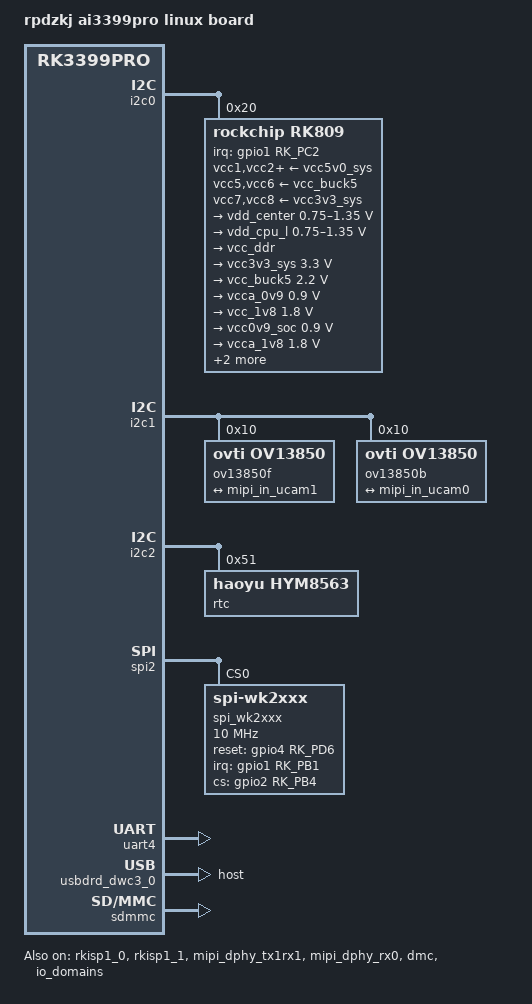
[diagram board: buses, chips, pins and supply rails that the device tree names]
// SPDX-License-Identifier: (GPL-2.0+ OR MIT)
/*
 * Copyright (c) 2019 Fuzhou Rockchip Electronics Co., Ltd
 *
 */

/dts-v1/;
#include "rk3399pro-evb-v11-linux.dts"

//#include "rp-lcd-hdmi.dtsi"
//#include "rp-lcd-ai-mipi-5-720-1280.dtsi"
//#include "rp-lcd-ai-mipi-5-720-1280-v2-boxTP.dtsi"
//#include "rp-lcd-ai-mipi-5.5-720-1280.dtsi"
//#include "rp-lcd-ai-mipi-5.5-720-1280-v2.dtsi"
//#include "rp-lcd-ai-mipi-5.5-1080-1920.dtsi"
#include "rp-lcd-ai-mipi-7-1024-600.dtsi"
//#include "rp-lcd-ai-mipi-7-1200-1920.dtsi"
//#include "rp-lcd-ai-mipi-8-800-1280-new.dtsi"
//#include "rp-lcd-ai-mipi-8-800-1280-v3.dtsi"
//#include "rp-lcd-ai-mipi-8-1200-1920.dtsi"
//#include "rp-lcd-ai-mipi-10-800-1280.dtsi"
//#include "rp-lcd-ai-mipi-10-800-1280-v2.dtsi"
//#include "rp-lcd-ai-mipi-10-800-1280-v3.dtsi"
//#include "rp-lcd-ai-mipi-10.1-1920-1200.dtsi"
//#include "rp-lcd-ai-edp-13.3-1920-1080.dtsi"
//#include "rp-lcd-ai-edp-13.3-15.6-1920-1080.dtsi"
//null



/ {
        model = "rpdzkj ai3399pro linux  board";
        //compatible = "ai3399pro";
	compatible = "rpdzkj,ai3399pro-linux", "rockchip,rk3399pro";

	rp_power {
		compatible = "rp_power";
		rp_not_deep_sleep = <1>;
		status = "okay";

		// GPIO_FUNCTION_OUTPUT 0
		// GPIO_FUNCTION_INPUT 1
		// GPIO_FUNCTION_IRQ 2
		// GPIO_FUNCTION_FLASH 3
		// GPIO_FUNCTION_OUTPUT_CTRL 4

        vdd_5v {
            gpio_num = <&gpio1 13 GPIO_ACTIVE_HIGH>;
            gpio_function = <0>;
        };
        usb_pwr {
            gpio_num = <&gpio4 29 GPIO_ACTIVE_HIGH>;
            gpio_function = <4>;
        };
        hub_rst {
            gpio_num = <&gpio4 25 GPIO_ACTIVE_HIGH>;
            gpio_function = <4>;
        };
        otg_pwr {
            gpio_num = <&gpio4 21 GPIO_ACTIVE_HIGH>;
            gpio_function = <4>;
        };

	};

       rp_gpio{
                status = "okay";
                compatible = "rp_gpio";

                gpio1b4 {
                        gpio_num = <&gpio1 12 GPIO_ACTIVE_HIGH>;
                        gpio_function = <0>;            //0:output 1:input
                        //gpio_event = <KEY_F14>;
                        //send_mode = <0>;
                };
                gpio0b4 {
                        gpio_num = <&gpio0 12 GPIO_ACTIVE_HIGH>;
                        gpio_function = <0>;            //0:output 1:input
                        //gpio_event = <KEY_F14>;
                        //send_mode = <0>;
                };

                gpio4d0 {
                        gpio_num = <&gpio4 24 GPIO_ACTIVE_HIGH>;
                        gpio_function = <0>;            //0:output 1:input
                        //gpio_event = <KEY_F14>;
                        //send_mode = <0>;
                };
                gpio4d4 {
                        gpio_num = <&gpio4 28 GPIO_ACTIVE_HIGH>;
                        gpio_function = <0>;            //0:output 1:input
                        //gpio_event = <KEY_F14>;
                        //send_mode = <0>;
                };


        };

};


&i2c0 {
	status = "okay";

	rk809: pmic@20 {
		compatible = "rockchip,rk809";
		reg = <0x20>;
		interrupt-parent = <&gpio1>;
		interrupts = <RK_PC2 IRQ_TYPE_LEVEL_LOW>;
		pinctrl-names = "default", "pmic-sleep",
				"pmic-power-off", "pmic-reset";
		pinctrl-0 = <&pmic_int_l>;
		pinctrl-1 = <&soc_slppin_slp>, <&rk809_slppin_slp>;
		pinctrl-2 = <&soc_slppin_gpio>, <&rk809_slppin_pwrdn>;
		pinctrl-3 = <&soc_slppin_gpio>, <&rk809_slppin_null>;
		rockchip,system-power-controller;
		pmic-reset-func = <0>;
		wakeup-source;
		#clock-cells = <1>;
		clock-output-names = "rk808-clkout1", "rk808-clkout2";

		vcc1-supply = <&vcc5v0_sys>;
		vcc2-supply = <&vcc5v0_sys>;
		vcc3-supply = <&vcc5v0_sys>;
		vcc4-supply = <&vcc5v0_sys>;
		vcc5-supply = <&vcc_buck5>;
		vcc6-supply = <&vcc_buck5>;
		vcc7-supply = <&vcc3v3_sys>;
		vcc8-supply = <&vcc3v3_sys>;
		vcc9-supply = <&vcc5v0_sys>;

		pwrkey {
			status = "okay";
		};

		rtc {
			status = "disabled";
		};

		pinctrl_rk8xx: pinctrl_rk8xx {
			gpio-controller;
			#gpio-cells = <2>;

			rk809_slppin_null: rk809_slppin_null {
				pins = "gpio_slp";
				function = "pin_fun0";
			};

			rk809_slppin_slp: rk809_slppin_slp {
				pins = "gpio_slp";
				function = "pin_fun1";
			};

			rk809_slppin_pwrdn: rk809_slppin_pwrdn {
				pins = "gpio_slp";
				function = "pin_fun2";
			};

			rk809_slppin_rst: rk809_slppin_rst {
				pins = "gpio_slp";
				function = "pin_fun3";
			};
		};

		regulators {
			vdd_center: DCDC_REG1 {
				regulator-always-on;
				regulator-boot-on;
				regulator-min-microvolt = <750000>;
				regulator-max-microvolt = <1350000>;
				regulator-init-microvolt = <1000000>;
				regulator-initial-mode = <0x2>;
				regulator-name = "vdd_center";
				regulator-state-mem {
					regulator-off-in-suspend;
					regulator-suspend-microvolt = <1000000>;
				};
			};

			vdd_cpu_l: DCDC_REG2 {
				regulator-always-on;
				regulator-boot-on;
				regulator-min-microvolt = <750000>;
				regulator-max-microvolt = <1350000>;
				regulator-ramp-delay = <6001>;
				regulator-initial-mode = <0x2>;
				regulator-name = "vdd_cpu_l";
				regulator-state-mem {
					regulator-off-in-suspend;
				};
			};

			vcc_ddr: DCDC_REG3 {
				regulator-always-on;
				regulator-boot-on;
				regulator-name = "vcc_ddr";
				regulator-initial-mode = <0x2>;
				regulator-state-mem {
					regulator-on-in-suspend;
				};
			};

			vcc3v3_sys: DCDC_REG4 {
				regulator-always-on;
				regulator-boot-on;
				regulator-min-microvolt = <3300000>;
				regulator-max-microvolt = <3300000>;
				regulator-initial-mode = <0x2>;
				regulator-name = "vcc3v3_sys";
				regulator-state-mem {
					regulator-on-in-suspend;
					regulator-suspend-microvolt = <3300000>;
				};
			};

			vcc_buck5: DCDC_REG5 {
				regulator-always-on;
				regulator-boot-on;
				regulator-min-microvolt = <2200000>;
				regulator-max-microvolt = <2200000>;
				regulator-name = "vcc_buck5";
				regulator-state-mem {
					regulator-on-in-suspend;
					regulator-suspend-microvolt = <2200000>;
				};
			};

			vcca_0v9: LDO_REG1 {
				regulator-always-on;
				regulator-boot-on;
				regulator-min-microvolt = <900000>;
				regulator-max-microvolt = <900000>;
				regulator-name = "vcca_0v9";
				regulator-state-mem {
					regulator-off-in-suspend;
				};
			};

			vcc_1v8: LDO_REG2 {
				regulator-always-on;
				regulator-boot-on;
				regulator-min-microvolt = <1800000>;
				regulator-max-microvolt = <1800000>;

				regulator-name = "vcc_1v8";
				regulator-state-mem {
					regulator-on-in-suspend;
					regulator-suspend-microvolt = <1800000>;
				};
			};

			vcc0v9_soc: LDO_REG3 {
				regulator-always-on;
				regulator-boot-on;
				regulator-min-microvolt = <900000>;
				regulator-max-microvolt = <900000>;

				regulator-name = "vcc0v9_soc";
				regulator-state-mem {
					regulator-on-in-suspend;
					regulator-suspend-microvolt = <900000>;
				};
			};

			vcca_1v8: LDO_REG4 {
				regulator-always-on;
				regulator-boot-on;
				regulator-min-microvolt = <1800000>;
				regulator-max-microvolt = <1800000>;

				regulator-name = "vcca_1v8";
				regulator-state-mem {
					regulator-off-in-suspend;
				};
			};

			vdd1v8_dvp: LDO_REG5 {
				regulator-always-on;
				regulator-boot-on;
				regulator-min-microvolt = <1800000>;
				regulator-max-microvolt = <1800000>;

				regulator-name = "vdd1v8_dvp";
				regulator-state-mem {
					regulator-off-in-suspend;
				};
			};

			vcc_1v5: LDO_REG6 {
				regulator-always-on;
				regulator-boot-on;
				regulator-min-microvolt = <1500000>;
				regulator-max-microvolt = <1500000>;

				regulator-name = "vcc_1v5";
				regulator-state-mem {
					regulator-off-in-suspend;
				};
			};

			vcc_3v0: LDO_REG7 {
				regulator-always-on;
				regulator-boot-on;
				regulator-min-microvolt = <3000000>;
				regulator-max-microvolt = <3000000>;

				regulator-name = "vcc_3v0";
				regulator-state-mem {
					regulator-off-in-suspend;
				};
			};

			vccio_sd: LDO_REG8 {
				regulator-always-on;
				regulator-boot-on;
				regulator-min-microvolt = <1800000>;
				regulator-max-microvolt = <3300000>;

				regulator-name = "vccio_sd";
				regulator-state-mem {
					regulator-off-in-suspend;
				};
			};

			vcc_sd: LDO_REG9 {
				regulator-boot-on;
				regulator-min-microvolt = <3300000>;
				regulator-max-microvolt = <3300000>;

				regulator-name = "vcc_sd";
				regulator-state-mem {
					regulator-off-in-suspend;
				};
			};

			vcc5v0_usb: SWITCH_REG1 {
				regulator-min-microvolt = <5000000>;
				regulator-max-microvolt = <5000000>;

				regulator-name = "vcc5v0_usb";
				regulator-state-mem {
					regulator-on-in-suspend;
					regulator-suspend-microvolt = <5000000>;
				};
			};

			vccio_3v3: SWITCH_REG2 {
				regulator-always-on;
				regulator-boot-on;
				regulator-min-microvolt = <3300000>;
				regulator-max-microvolt = <3300000>;

				regulator-name = "vccio_3v3";
				regulator-state-mem {
					regulator-off-in-suspend;
				};
			};
		};

		rk809_codec: codec {
			#sound-dai-cells = <0>;
			compatible = "rockchip,rk809-codec", "rockchip,rk817-codec";
			clocks = <&cru SCLK_I2S_8CH_OUT>;
			clock-names = "mclk";
			pinctrl-names = "default";
			pinctrl-0 = <&i2s_8ch_mclk>;
			hp-volume = <20>;//3(max)-255(min)
			spk-volume = <50>;//3(max)-255(min)
                        capture-volume = <0>;//20// MIC //0(max)-255(min)
                        spk-mute-delay-ms = <30>;
			status = "disabled";
		};
	};
};


&rk809_codec {
	status = "okay";
	spk-ctl-gpios = <&gpio4 RK_PD2 GPIO_ACTIVE_HIGH>;
	spk-mute-gpios = <&gpio2 RK_PA6 GPIO_ACTIVE_HIGH>;
};


&rkisp1_0 {
	status = "okay";
	assigned-clocks = <&cru PLL_NPLL>, <&cru SCLK_CIF_OUT_SRC>, <&cru SCLK_CIF_OUT>;
	assigned-clock-rates = <594000000>, <594000000>, <37125000>;
	port {
		#address-cells = <1>;
		#size-cells = <0>;

		isp0_mipi_in: endpoint@0 {
			reg = <0>;
			remote-endpoint = <&dphy_rx0_out>;
		};
	};
};

&rkisp1_1 {
	status = "okay";

	port {
		#address-cells = <1>;
		#size-cells = <0>;

		isp1_mipi_in: endpoint@0 {
			reg = <0>;
			remote-endpoint = <&dphy_tx1rx1_out>;
		};
	};
};

&mipi_dphy_tx1rx1 {
	status = "okay";

	ports {
		#address-cells = <1>;
		#size-cells = <0>;

		port@0 {
			reg = <0>;
			#address-cells = <1>;
			#size-cells = <0>;

			mipi_in_ucam1: endpoint@1 {
				reg = <1>;
				/* Unlinked camera */
				remote-endpoint = <&ucam_out1>;
				data-lanes = <1 2>;
			};
		};

		port@1 {
			reg = <1>;
			#address-cells = <1>;
			#size-cells = <0>;

			dphy_tx1rx1_out: endpoint@0 {
				reg = <0>;
				remote-endpoint = <&isp1_mipi_in>;
			};
		};
	};
};

&mipi_dphy_rx0 {
	status = "okay";

	ports {
		#address-cells = <1>;
		#size-cells = <0>;

		port@0 {
			reg = <0>;
			#address-cells = <1>;
			#size-cells = <0>;

			mipi_in_ucam0: endpoint@1 {
				reg = <1>;
				remote-endpoint = <&ucam_out0>;
				data-lanes = <1 2>;
			};
		};

		port@1 {
			reg = <1>;
			#address-cells = <1>;
			#size-cells = <0>;

			dphy_rx0_out: endpoint@0 {
				reg = <0>;
				remote-endpoint = <&isp0_mipi_in>;
			};
		};
	};
};

&i2c1 {
	status = "okay";


	ov13850f: ov13850f@10 {
		compatible = "ovti,ov13850";
		status = "okay";
		reg = <0x10>;
		clocks = <&cru SCLK_CIF_OUT>;
		clock-names = "xvclk";

		/* conflict with csi-ctl-gpios */
		//reset-gpios = <&gpio1 12 GPIO_ACTIVE_HIGH>;
		//pwdn-gpios = <&gpio0 12 GPIO_ACTIVE_HIGH>;
		//pinctrl-names = "rockchip,camera_default";
		//pinctrl-0 = <&cif_clkout>;
		rockchip,camera-module-index = <0>;
		rockchip,camera-module-facing = "back";
		rockchip,camera-module-name = "CMK-CT0116";
		rockchip,camera-module-lens-name = "Largan-50013A1";

		port {
			ucam_out1: endpoint {
				remote-endpoint = <&mipi_in_ucam1>;
				data-lanes = <1 2>;
			};
		};
	};
	
	ov13850b: ov13850b@10 {
		compatible = "ovti,ov13850";
		status = "okay";
		reg = <0x10>;
		clocks = <&cru SCLK_CIF_OUT>;
		clock-names = "xvclk";

		/* conflict with csi-ctl-gpios */
		//reset-gpios = <&gpio1 12 GPIO_ACTIVE_HIGH>;
		//pwdn-gpios = <&gpio0 12 GPIO_ACTIVE_HIGH>;
		//pinctrl-names = "rockchip,camera_default";
		//pinctrl-0 = <&cif_clkout>;
		rockchip,camera-module-index = <1>;
		rockchip,camera-module-facing = "front";
		rockchip,camera-module-name = "CMK-CT0116";
		rockchip,camera-module-lens-name = "Largan-50013A1";

		port {
			ucam_out0: endpoint {
				remote-endpoint = <&mipi_in_ucam0>;
				data-lanes = <1 2>;
			};
		};
	};
	
};

&i2c2 {
        status = "okay";
        rtc@51 {
                status = "okay";
                compatible = "haoyu,hym8563";
                reg = <0x51>;
        };
};

&spi1 {
	status = "disabled";
};

&spi2 {
        status = "okay";
        spi_wk2xxx: spi_wk2xxx@00{
                status = "okay";
                compatible = "spi-wk2xxx";
                reg = <0>;
                spi-max-frequency = <10000000>;
                reset-gpio = <&gpio4 RK_PD6 GPIO_ACTIVE_HIGH>;
                irq-gpio = <&gpio1 RK_PB1 IRQ_TYPE_EDGE_FALLING>;
                cs-gpio = <&gpio2 RK_PB4 GPIO_ACTIVE_HIGH>;
        };
};

&uart4 {
       status = "okay";
};


&tcphy0{
	/delete-property/ extcon;
};

&u2phy0 {
	/delete-property/ extcon;
};

&usbdrd3_0 {
	/delete-property/ extcon;
};

&usbdrd_dwc3_0 {
       status = "okay";
       dr_mode = "host";                //rpdzkj jeff peripheral otg host
//       usb3-power-gpio = <&gpio4 21 GPIO_ACTIVE_HIGH>;//rpdzkj jeff
};

&tsadc {
        fan-temp = <50000>;
	fan-gpio = <&gpio4 RK_PD3 GPIO_ACTIVE_HIGH>;
};

&sdmmc {
        status = "okay";
};

&dmc {
	status = "okay";
	center-supply = <&vdd_center>;
	upthreshold = <40>;
	downdifferential = <20>;
	system-status-freq = <
		/*system status         freq(KHz)*/
		SYS_STATUS_NORMAL       400000
		SYS_STATUS_REBOOT       400000
		SYS_STATUS_SUSPEND      400000
		SYS_STATUS_VIDEO_1080P  400000
		SYS_STATUS_VIDEO_4K     400000
		SYS_STATUS_VIDEO_4K_10B 400000
		SYS_STATUS_PERFORMANCE  400000
		SYS_STATUS_BOOST        400000
		SYS_STATUS_DUALVIEW     400000
		SYS_STATUS_ISP          400000
	>;
	vop-pn-msch-readlatency = <
	/* plane_number  readlatency */
		0	0
		4	0x20
	>;
	vop-bw-dmc-freq = <
	/* min_bw(MB/s) max_bw(MB/s) freq(KHz) */
		0       762      200000
		763     1893     400000
		1894    3012     528000
		3013    99999    800000
	>;
	auto-min-freq = <400000>;
};

&dfi {
	status = "disabled";
};

&hdmi_sound {
        status = "disabled";
};

&cluster0_opp {
	         opp-1008000000 {
                        opp-hz = /bits/ 64 <1008000000>;
                        opp-microvolt = <1025000 1025000 1250000>;
                        opp-microvolt-L0 = <1025000 925000 1250000>;
                        opp-microvolt-L1 = <1000000 1000000 1250000>;
                        opp-microvolt-L2 = <975000 975000 1250000>;
                        opp-microvolt-L3 = <950000 950000 1250000>;
                        clock-latency-ns = <40000>;
                };
                opp-1200000000 {
                        opp-hz = /bits/ 64 <1200000000>;
                        opp-microvolt = <1100000 1100000 1250000>;
                        opp-microvolt-L0 = <1100000 1100000 1250000>;
                        opp-microvolt-L1 = <1075000 1075000 1250000>;
                        opp-microvolt-L2 = <1050000 1050000 1250000>;
                        opp-microvolt-L3 = <1025000 1025000 1250000>;
                        clock-latency-ns = <40000>;
                };
                opp-1416000000 {
                        opp-hz = /bits/ 64 <1416000000>;
                        opp-microvolt = <1225000 1225000 1250000>;
                        opp-microvolt-L0 = <1225000 1225000 1250000>;
                        opp-microvolt-L1 = <1200000 1200000 1250000>;
                        opp-microvolt-L2 = <1175000 1175000 1250000>;
                        opp-microvolt-L3 = <1150000 1150000 1250000>;
                        clock-latency-ns = <40000>;
                };
};

&cluster1_opp {
	        opp-1008000000 {
                        opp-hz = /bits/ 64 <1008000000>;
                        opp-microvolt = <975000 975000 1250000>;
                        opp-microvolt-L0 = <975000 975000 1250000>;
                        opp-microvolt-L1 = <950000 950000 1250000>;
                        opp-microvolt-L2 = <950000 950000 1250000>;
                        opp-microvolt-L3 = <950000 950000 1250000>;
                        opp-microvolt-L4 = <950000 950000 1250000>;
                        clock-latency-ns = <40000>;
                };
                opp-1200000000 {
                        opp-hz = /bits/ 64 <1200000000>;
                        opp-microvolt = <1050000 1050000 1250000>;
                        opp-microvolt-L0 = <1050000 1050000 1250000>;
                        opp-microvolt-L1 = <1025000 1025000 1250000>;
                        opp-microvolt-L2 = <1000000 1000000 1250000>;
                        opp-microvolt-L3 = <1075000 1075000 1250000>;
                        opp-microvolt-L4 = <1075000 1075000 1250000>;
                        clock-latency-ns = <40000>;
                };
                opp-1416000000 {
                        opp-hz = /bits/ 64 <1416000000>;
                        opp-microvolt = <1125000 1125000 1250000>;
                        opp-microvolt-L0 = <1125000 1125000 1250000>;
                        opp-microvolt-L1 = <1100000 1100000 1250000>;
                        opp-microvolt-L2 = <1100000 1100000 1250000>;
                        opp-microvolt-L3 = <1075000 1075000 1250000>;
                        opp-microvolt-L4 = <1075000 1075000 1250000>;
                        clock-latency-ns = <40000>;
                };
                opp-1608000000 {
                        opp-hz = /bits/ 64 <1608000000>;
                        opp-microvolt = <1200000 1200000 1250000>;
                        opp-microvolt-L0 = <1200000 1200000 1250000>;
                        opp-microvolt-L1 = <1175000 1175000 1250000>;
                        opp-microvolt-L2 = <1150000 1150000 1250000>;
                        opp-microvolt-L3 = <1125000 1125000 1250000>;
                        opp-microvolt-L4 = <1125000 1125000 1250000>;
                        clock-latency-ns = <40000>;
                };
                opp-1800000000 {
                        opp-hz = /bits/ 64 <1800000000>;
                        opp-microvolt = <1250000 1250000 1250000>;
                        opp-microvolt-L0 = <1250000 1250000 1250000>;
                        opp-microvolt-L1 = <1250000 1250000 1250000>;
                        opp-microvolt-L2 = <1250000 1250000 1250000>;
                        opp-microvolt-L3 = <1250000 1250000 1250000>;
                        opp-microvolt-L4 = <1200000 1200000 1250000>;
                        clock-latency-ns = <40000>;
                };
};

&io_domains {
        status = "okay";
        bt656-supply = <&vdd1v8_dvp>;
};
